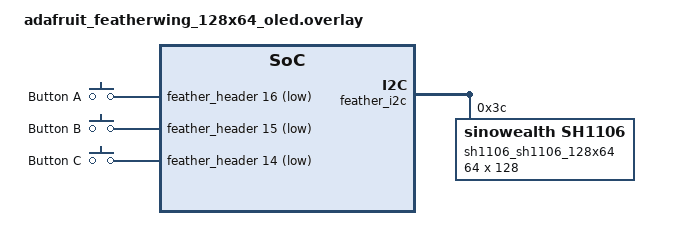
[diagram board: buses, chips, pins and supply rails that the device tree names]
/*
 * Copyright The Zephyr Project Contributors
 *
 * SPDX-License-Identifier: Apache-2.0
 */

/ {
	chosen {
		zephyr,display = &sh1106_sh1106_128x64;
	};

	aliases {
		sw0 = &buttonA;
	};

	buttons {
		compatible = "gpio-keys";

		buttonA: button_A {
			gpios = <&feather_header 16 (GPIO_PULL_UP | GPIO_ACTIVE_LOW)>; /* D9 */
			label = "Button A";
			zephyr,code = <INPUT_KEY_A>;
		};

		buttonB: button_B {
			/* Button B has a pull up resistor on board. */
			gpios = <&feather_header 15 GPIO_ACTIVE_LOW>; /* D6 */
			label = "Button B";
			zephyr,code = <INPUT_KEY_B>;
		};

		buttonC: button_C {
			gpios = <&feather_header 14 (GPIO_PULL_UP | GPIO_ACTIVE_LOW)>;	/* D5 */
			label = "Button C";
			zephyr,code = <INPUT_KEY_C>;
		};
	};
};

&feather_i2c {
	status = "okay";

	sh1106_sh1106_128x64: sh1106@3c {
		compatible = "sinowealth,sh1106";
		reg = <0x3c>;
		width = <64>;
		height = <128>;
		segment-offset = <0>;
		page-offset = <0>;
		display-offset = <0x60>;
		multiplex-ratio = <0x3f>;
		prechargep = <0x22>;
	};
};
